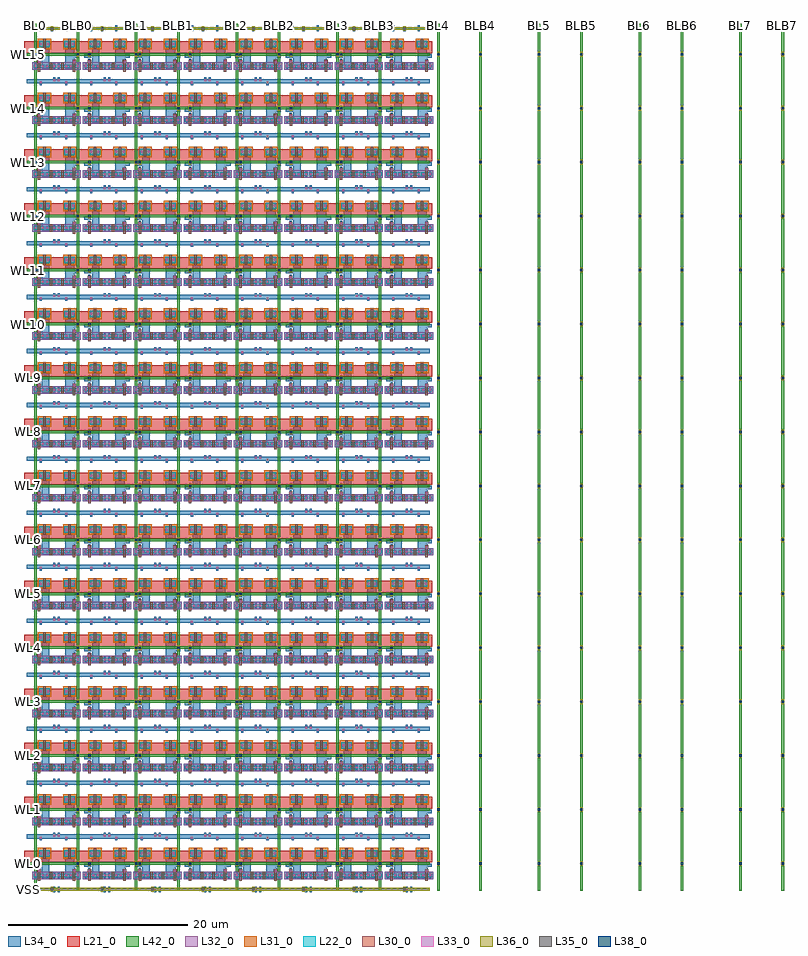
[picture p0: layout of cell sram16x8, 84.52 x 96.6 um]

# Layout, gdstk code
import gdstk
lib = gdstk.Library(unit=1e-6, precision=1e-09)
def R(c, l, rs):  # rectangles x0, y0, x1, y1
    for r in rs: c.add(gdstk.rectangle(r[:2], r[2:], *l))
def A(c, l, x, y, w, h, nx, ny, dx, dy):  # array of equal rectangles
    R(c, l, [(x+i*dx, y+j*dy, x+i*dx+w, y+j*dy+h) for i in range(nx) for j in range(ny)])
L21_0 = (21, 0)
L22_0 = (22, 0)
L30_0 = (30, 0)
L31_0 = (31, 0)
L32_0 = (32, 0)
L33_0 = (33, 0)
L34_0 = (34, 0)
L35_0 = (35, 0)
L36_0 = (36, 0)
L38_0 = (38, 0)
L42_0 = (42, 0)

sram6t = lib.new_cell('sram6t')
R(sram6t, L21_0, [(-0.3,3.12,5.9,4.44)])
A(sram6t, L22_0, 0.8, 1.5, 1.16, 0.36, 4, 1, 1.3, 0)
R(sram6t, L22_0, [(1.4,3.78,2.56,4.5), (4.2,3.78,5.36,4.5)])
A(sram6t, L30_0, 1.24, 1.28, 0.28, 0.8, 4, 1, 1.3, 0)
R(sram6t, L30_0, [(1.24,1.06,1.52,1.28), (5.14,1.06,5.42,1.28), (1.2,2.01,1.56,2.37), (5.1,2.01,5.46,2.37), (1.24,2.08,1.52,2.3), (5.14,2.08,5.42,2.3), (1.84,3.56,2.12,4.72), (4.64,3.56,4.92,4.72)])
R(sram6t, L31_0, [(1.24,3.55,2.72,4.73), (4.04,3.55,5.52,4.73)])
A(sram6t, L32_0, 0.64, 1.27, 1.48, 0.82, 4, 1, 1.3, 0)
R(sram6t, L33_0, [(2.97,0.005,3.19,0.225), (3.47,0.005,3.69,0.225), (0.87,1.57,1.09,1.79), (1.67,1.57,1.89,1.79), (2.17,1.57,2.39,1.79), (2.97,1.57,3.19,1.79), (3.47,1.57,3.69,1.79), (4.27,1.57,4.49,1.79), (4.77,1.57,4.99,1.79), (5.57,1.57,5.79,1.79), (0.87,1.625,1.09,1.845), (5.57,1.625,5.79,1.845), (1.27,2.08,1.49,2.3), (5.17,2.08,5.39,2.3), (1.47,4.03,1.69,4.25), (2.27,4.03,2.49,4.25), (4.27,4.03,4.49,4.25), (5.07,4.03,5.29,4.25), (1.47,5.775,1.69,5.995), (4.27,5.775,4.49,5.995)])
R(sram6t, L34_0, [(2.965,-0.2,3.195,0.43), (3.465,-0.2,3.695,0.43), (0,0,5.6,0.23), (2.965,0,3.195,0.23), (3.465,0,3.695,0.23), (0.865,1.365,1.095,1.995), (1.665,1.365,1.895,1.995), (1.665,1.365,1.895,1.995), (1.665,1.365,2.495,4.455), (2.165,1.365,2.395,1.995), (2.165,1.365,2.395,1.995), (2.965,1.365,3.195,1.995), (3.465,1.365,3.695,1.995), (4.265,1.365,4.495,1.995), (4.265,1.365,4.495,1.995), (4.265,1.365,5.295,4.455), (4.765,1.365,4.995,1.995), (4.765,1.365,4.995,1.995), (5.565,1.365,5.795,1.995), (0.865,1.42,1.095,2.05), (5.565,1.42,5.795,2.05), (1.265,1.875,1.495,2.505), (5.165,1.875,5.395,2.505), (0.79,2.62,1.17,3), (1.19,2.62,1.57,3), (5.09,2.62,5.47,3), (5.49,2.62,5.87,3), (1.465,3.825,1.695,4.455), (2.265,3.825,2.495,4.455), (2.265,3.825,2.495,4.455), (4.265,3.825,4.495,4.455), (5.065,3.825,5.295,4.455), (5.065,3.825,5.295,4.455), (1.465,5.57,1.695,6.2), (4.265,5.57,4.495,6.2), (0,5.77,5.6,6), (1.465,5.77,1.695,6), (4.265,5.77,4.495,6)])
sram6t.add(gdstk.Label('WL', (1.38,1.68), layer=30, texttype=10))
sram6t.add(gdstk.Label('BL', (0.98,1.68), layer=34, texttype=10))
sram6t.add(gdstk.Label('BLB', (5.68,1.68), layer=34, texttype=10))
sram6t.add(gdstk.Label('VDD', (2.8,5.885), layer=34, texttype=10))
sram6t.add(gdstk.Label('VSS', (2.8,0.115), layer=34, texttype=10))

sram16x8 = lib.new_cell('sram16x8')
A(sram16x8, L34_0, 0.85, 2.72, 0.26, 0.56, 1, 16, 0, 6)
A(sram16x8, L34_0, 1.25, 2.72, 0.26, 0.56, 1, 16, 0, 6)
A(sram16x8, L34_0, 5.55, 2.72, 0.26, 0.56, 1, 16, 0, 6)
A(sram16x8, L34_0, 6.85, 2.72, 0.26, 0.56, 1, 16, 0, 6)
A(sram16x8, L34_0, 12.05, 2.72, 0.26, 0.56, 1, 16, 0, 6)
A(sram16x8, L34_0, 12.45, 2.72, 0.26, 0.56, 1, 16, 0, 6)
A(sram16x8, L34_0, 16.75, 2.72, 0.26, 0.56, 1, 16, 0, 6)
A(sram16x8, L34_0, 18.05, 2.72, 0.26, 0.56, 1, 16, 0, 6)
A(sram16x8, L34_0, 23.25, 2.72, 0.26, 0.56, 1, 16, 0, 6)
A(sram16x8, L34_0, 23.65, 2.72, 0.26, 0.56, 1, 16, 0, 6)
A(sram16x8, L34_0, 27.95, 2.72, 0.26, 0.56, 1, 16, 0, 6)
A(sram16x8, L34_0, 29.25, 2.72, 0.26, 0.56, 1, 16, 0, 6)
A(sram16x8, L34_0, 34.45, 2.72, 0.26, 0.56, 1, 16, 0, 6)
A(sram16x8, L34_0, 34.85, 2.72, 0.26, 0.56, 1, 16, 0, 6)
A(sram16x8, L34_0, 39.15, 2.72, 0.26, 0.56, 1, 16, 0, 6)
A(sram16x8, L34_0, 40.45, 2.72, 0.26, 0.56, 1, 16, 0, 6)
A(sram16x8, L34_0, 45.65, 2.72, 0.26, 0.56, 1, 16, 0, 6)
A(sram16x8, L34_0, 50.35, 2.72, 0.26, 0.56, 1, 16, 0, 6)
A(sram16x8, L34_0, 56.85, 2.72, 0.26, 0.56, 1, 16, 0, 6)
A(sram16x8, L34_0, 61.55, 2.72, 0.26, 0.56, 1, 16, 0, 6)
A(sram16x8, L34_0, 68.05, 2.72, 0.26, 0.56, 1, 16, 0, 6)
A(sram16x8, L34_0, 72.75, 2.72, 0.26, 0.56, 1, 16, 0, 6)
A(sram16x8, L34_0, 79.25, 2.72, 0.26, 0.56, 1, 16, 0, 6)
A(sram16x8, L34_0, 83.95, 2.72, 0.26, 0.56, 1, 16, 0, 6)
R(sram16x8, L34_0, [(2.67,-0.13,2.93,0.43), (2.67,-0.13,2.93,0.43), (2.67,-0.13,2.93,0.43), (2.67,-0.13,2.93,0.43), (2.67,-0.13,2.93,0.43), (2.67,-0.13,2.93,0.43), (2.67,-0.13,2.93,0.43), (2.67,-0.13,2.93,0.43), (2.67,-0.13,2.93,0.43), (2.67,-0.13,2.93,0.43), (2.67,-0.13,2.93,0.43), (2.67,-0.13,2.93,0.43), (2.67,-0.13,2.93,0.43), (2.67,-0.13,2.93,0.43), (2.67,-0.13,2.93,0.43), (2.67,-0.13,2.93,0.43), (8.27,-0.13,8.53,0.43), (8.27,-0.13,8.53,0.43), (8.27,-0.13,8.53,0.43), (8.27,-0.13,8.53,0.43), (8.27,-0.13,8.53,0.43), (8.27,-0.13,8.53,0.43), (8.27,-0.13,8.53,0.43), (8.27,-0.13,8.53,0.43), (8.27,-0.13,8.53,0.43), (8.27,-0.13,8.53,0.43), (8.27,-0.13,8.53,0.43), (8.27,-0.13,8.53,0.43), (8.27,-0.13,8.53,0.43), (8.27,-0.13,8.53,0.43), (8.27,-0.13,8.53,0.43), (8.27,-0.13,8.53,0.43), (13.87,-0.13,14.13,0.43), (13.87,-0.13,14.13,0.43), (13.87,-0.13,14.13,0.43), (13.87,-0.13,14.13,0.43), (13.87,-0.13,14.13,0.43), (13.87,-0.13,14.13,0.43), (13.87,-0.13,14.13,0.43), (13.87,-0.13,14.13,0.43), (13.87,-0.13,14.13,0.43), (13.87,-0.13,14.13,0.43), (13.87,-0.13,14.13,0.43), (13.87,-0.13,14.13,0.43), (13.87,-0.13,14.13,0.43), (13.87,-0.13,14.13,0.43), (13.87,-0.13,14.13,0.43), (13.87,-0.13,14.13,0.43), (19.47,-0.13,19.73,0.43), (19.47,-0.13,19.73,0.43), (19.47,-0.13,19.73,0.43), (19.47,-0.13,19.73,0.43), (19.47,-0.13,19.73,0.43), (19.47,-0.13,19.73,0.43), (19.47,-0.13,19.73,0.43), (19.47,-0.13,19.73,0.43), (19.47,-0.13,19.73,0.43), (19.47,-0.13,19.73,0.43), (19.47,-0.13,19.73,0.43), (19.47,-0.13,19.73,0.43), (19.47,-0.13,19.73,0.43), (19.47,-0.13,19.73,0.43), (19.47,-0.13,19.73,0.43), (19.47,-0.13,19.73,0.43), (25.07,-0.13,25.33,0.43), (25.07,-0.13,25.33,0.43), (25.07,-0.13,25.33,0.43), (25.07,-0.13,25.33,0.43), (25.07,-0.13,25.33,0.43), (25.07,-0.13,25.33,0.43), (25.07,-0.13,25.33,0.43), (25.07,-0.13,25.33,0.43), (25.07,-0.13,25.33,0.43), (25.07,-0.13,25.33,0.43), (25.07,-0.13,25.33,0.43), (25.07,-0.13,25.33,0.43), (25.07,-0.13,25.33,0.43), (25.07,-0.13,25.33,0.43), (25.07,-0.13,25.33,0.43), (25.07,-0.13,25.33,0.43), (30.67,-0.13,30.93,0.43), (30.67,-0.13,30.93,0.43), (30.67,-0.13,30.93,0.43), (30.67,-0.13,30.93,0.43), (30.67,-0.13,30.93,0.43), (30.67,-0.13,30.93,0.43), (30.67,-0.13,30.93,0.43), (30.67,-0.13,30.93,0.43), (30.67,-0.13,30.93,0.43), (30.67,-0.13,30.93,0.43), (30.67,-0.13,30.93,0.43), (30.67,-0.13,30.93,0.43), (30.67,-0.13,30.93,0.43), (30.67,-0.13,30.93,0.43), (30.67,-0.13,30.93,0.43), (30.67,-0.13,30.93,0.43), (36.27,-0.13,36.53,0.43), (36.27,-0.13,36.53,0.43), (36.27,-0.13,36.53,0.43), (36.27,-0.13,36.53,0.43), (36.27,-0.13,36.53,0.43), (36.27,-0.13,36.53,0.43), (36.27,-0.13,36.53,0.43), (36.27,-0.13,36.53,0.43), (36.27,-0.13,36.53,0.43), (36.27,-0.13,36.53,0.43), (36.27,-0.13,36.53,0.43), (36.27,-0.13,36.53,0.43), (36.27,-0.13,36.53,0.43), (36.27,-0.13,36.53,0.43), (36.27,-0.13,36.53,0.43), (36.27,-0.13,36.53,0.43), (41.87,-0.13,42.13,0.43), (41.87,-0.13,42.13,0.43), (41.87,-0.13,42.13,0.43), (41.87,-0.13,42.13,0.43), (41.87,-0.13,42.13,0.43), (41.87,-0.13,42.13,0.43), (41.87,-0.13,42.13,0.43), (41.87,-0.13,42.13,0.43), (41.87,-0.13,42.13,0.43), (41.87,-0.13,42.13,0.43), (41.87,-0.13,42.13,0.43), (41.87,-0.13,42.13,0.43), (41.87,-0.13,42.13,0.43), (41.87,-0.13,42.13,0.43), (41.87,-0.13,42.13,0.43), (41.87,-0.13,42.13,0.43), (2.67,95.57,2.93,96.13), (2.67,95.57,2.93,96.13), (2.67,95.57,2.93,96.13), (2.67,95.57,2.93,96.13), (2.67,95.57,2.93,96.13), (2.67,95.57,2.93,96.13), (2.67,95.57,2.93,96.13), (2.67,95.57,2.93,96.13), (2.67,95.57,2.93,96.13), (2.67,95.57,2.93,96.13), (2.67,95.57,2.93,96.13), (2.67,95.57,2.93,96.13), (2.67,95.57,2.93,96.13), (2.67,95.57,2.93,96.13), (2.67,95.57,2.93,96.13), (2.67,95.57,2.93,96.13), (8.27,95.57,8.53,96.13), (8.27,95.57,8.53,96.13), (8.27,95.57,8.53,96.13), (8.27,95.57,8.53,96.13), (8.27,95.57,8.53,96.13), (8.27,95.57,8.53,96.13), (8.27,95.57,8.53,96.13), (8.27,95.57,8.53,96.13), (8.27,95.57,8.53,96.13), (8.27,95.57,8.53,96.13), (8.27,95.57,8.53,96.13), (8.27,95.57,8.53,96.13), (8.27,95.57,8.53,96.13), (8.27,95.57,8.53,96.13), (8.27,95.57,8.53,96.13), (8.27,95.57,8.53,96.13), (13.87,95.57,14.13,96.13), (13.87,95.57,14.13,96.13), (13.87,95.57,14.13,96.13), (13.87,95.57,14.13,96.13), (13.87,95.57,14.13,96.13), (13.87,95.57,14.13,96.13), (13.87,95.57,14.13,96.13), (13.87,95.57,14.13,96.13), (13.87,95.57,14.13,96.13), (13.87,95.57,14.13,96.13), (13.87,95.57,14.13,96.13), (13.87,95.57,14.13,96.13), (13.87,95.57,14.13,96.13), (13.87,95.57,14.13,96.13), (13.87,95.57,14.13,96.13), (13.87,95.57,14.13,96.13), (19.47,95.57,19.73,96.13), (19.47,95.57,19.73,96.13), (19.47,95.57,19.73,96.13), (19.47,95.57,19.73,96.13), (19.47,95.57,19.73,96.13), (19.47,95.57,19.73,96.13), (19.47,95.57,19.73,96.13), (19.47,95.57,19.73,96.13), (19.47,95.57,19.73,96.13), (19.47,95.57,19.73,96.13), (19.47,95.57,19.73,96.13), (19.47,95.57,19.73,96.13), (19.47,95.57,19.73,96.13), (19.47,95.57,19.73,96.13), (19.47,95.57,19.73,96.13), (19.47,95.57,19.73,96.13), (25.07,95.57,25.33,96.13), (25.07,95.57,25.33,96.13), (25.07,95.57,25.33,96.13), (25.07,95.57,25.33,96.13), (25.07,95.57,25.33,96.13), (25.07,95.57,25.33,96.13), (25.07,95.57,25.33,96.13), (25.07,95.57,25.33,96.13), (25.07,95.57,25.33,96.13), (25.07,95.57,25.33,96.13), (25.07,95.57,25.33,96.13), (25.07,95.57,25.33,96.13), (25.07,95.57,25.33,96.13), (25.07,95.57,25.33,96.13), (25.07,95.57,25.33,96.13), (25.07,95.57,25.33,96.13), (30.67,95.57,30.93,96.13), (30.67,95.57,30.93,96.13), (30.67,95.57,30.93,96.13), (30.67,95.57,30.93,96.13), (30.67,95.57,30.93,96.13), (30.67,95.57,30.93,96.13), (30.67,95.57,30.93,96.13), (30.67,95.57,30.93,96.13), (30.67,95.57,30.93,96.13), (30.67,95.57,30.93,96.13), (30.67,95.57,30.93,96.13), (30.67,95.57,30.93,96.13), (30.67,95.57,30.93,96.13), (30.67,95.57,30.93,96.13), (30.67,95.57,30.93,96.13), (30.67,95.57,30.93,96.13), (36.27,95.57,36.53,96.13), (36.27,95.57,36.53,96.13), (36.27,95.57,36.53,96.13), (36.27,95.57,36.53,96.13), (36.27,95.57,36.53,96.13), (36.27,95.57,36.53,96.13), (36.27,95.57,36.53,96.13), (36.27,95.57,36.53,96.13), (36.27,95.57,36.53,96.13), (36.27,95.57,36.53,96.13), (36.27,95.57,36.53,96.13), (36.27,95.57,36.53,96.13), (36.27,95.57,36.53,96.13), (36.27,95.57,36.53,96.13), (36.27,95.57,36.53,96.13), (36.27,95.57,36.53,96.13), (41.87,95.57,42.13,96.13), (41.87,95.57,42.13,96.13), (41.87,95.57,42.13,96.13), (41.87,95.57,42.13,96.13), (41.87,95.57,42.13,96.13), (41.87,95.57,42.13,96.13), (41.87,95.57,42.13,96.13), (41.87,95.57,42.13,96.13), (41.87,95.57,42.13,96.13), (41.87,95.57,42.13,96.13), (41.87,95.57,42.13,96.13), (41.87,95.57,42.13,96.13), (41.87,95.57,42.13,96.13), (41.87,95.57,42.13,96.13), (41.87,95.57,42.13,96.13), (41.87,95.57,42.13,96.13)])
A(sram16x8, L35_0, 0.85, 2.87, 0.26, 0.26, 1, 16, 0, 6)
A(sram16x8, L35_0, 1.25, 2.87, 0.26, 0.26, 1, 16, 0, 6)
A(sram16x8, L35_0, 5.55, 2.87, 0.26, 0.26, 1, 16, 0, 6)
A(sram16x8, L35_0, 6.85, 2.87, 0.26, 0.26, 1, 16, 0, 6)
A(sram16x8, L35_0, 12.05, 2.87, 0.26, 0.26, 1, 16, 0, 6)
A(sram16x8, L35_0, 12.45, 2.87, 0.26, 0.26, 1, 16, 0, 6)
A(sram16x8, L35_0, 16.75, 2.87, 0.26, 0.26, 1, 16, 0, 6)
A(sram16x8, L35_0, 18.05, 2.87, 0.26, 0.26, 1, 16, 0, 6)
A(sram16x8, L35_0, 23.25, 2.87, 0.26, 0.26, 1, 16, 0, 6)
A(sram16x8, L35_0, 23.65, 2.87, 0.26, 0.26, 1, 16, 0, 6)
A(sram16x8, L35_0, 27.95, 2.87, 0.26, 0.26, 1, 16, 0, 6)
A(sram16x8, L35_0, 29.25, 2.87, 0.26, 0.26, 1, 16, 0, 6)
A(sram16x8, L35_0, 34.45, 2.87, 0.26, 0.26, 1, 16, 0, 6)
A(sram16x8, L35_0, 34.85, 2.87, 0.26, 0.26, 1, 16, 0, 6)
A(sram16x8, L35_0, 39.15, 2.87, 0.26, 0.26, 1, 16, 0, 6)
A(sram16x8, L35_0, 40.45, 2.87, 0.26, 0.26, 1, 16, 0, 6)
A(sram16x8, L35_0, 45.65, 2.87, 0.26, 0.26, 1, 16, 0, 6)
A(sram16x8, L35_0, 50.35, 2.87, 0.26, 0.26, 1, 16, 0, 6)
A(sram16x8, L35_0, 56.85, 2.87, 0.26, 0.26, 1, 16, 0, 6)
A(sram16x8, L35_0, 61.55, 2.87, 0.26, 0.26, 1, 16, 0, 6)
A(sram16x8, L35_0, 68.05, 2.87, 0.26, 0.26, 1, 16, 0, 6)
A(sram16x8, L35_0, 72.75, 2.87, 0.26, 0.26, 1, 16, 0, 6)
A(sram16x8, L35_0, 79.25, 2.87, 0.26, 0.26, 1, 16, 0, 6)
A(sram16x8, L35_0, 83.95, 2.87, 0.26, 0.26, 1, 16, 0, 6)
R(sram16x8, L35_0, [(2.67,0.02,2.93,0.28), (2.67,0.02,2.93,0.28), (2.67,0.02,2.93,0.28), (2.67,0.02,2.93,0.28), (2.67,0.02,2.93,0.28), (2.67,0.02,2.93,0.28), (2.67,0.02,2.93,0.28), (2.67,0.02,2.93,0.28), (2.67,0.02,2.93,0.28), (2.67,0.02,2.93,0.28), (2.67,0.02,2.93,0.28), (2.67,0.02,2.93,0.28), (2.67,0.02,2.93,0.28), (2.67,0.02,2.93,0.28), (2.67,0.02,2.93,0.28), (2.67,0.02,2.93,0.28), (8.27,0.02,8.53,0.28), (8.27,0.02,8.53,0.28), (8.27,0.02,8.53,0.28), (8.27,0.02,8.53,0.28), (8.27,0.02,8.53,0.28), (8.27,0.02,8.53,0.28), (8.27,0.02,8.53,0.28), (8.27,0.02,8.53,0.28), (8.27,0.02,8.53,0.28), (8.27,0.02,8.53,0.28), (8.27,0.02,8.53,0.28), (8.27,0.02,8.53,0.28), (8.27,0.02,8.53,0.28), (8.27,0.02,8.53,0.28), (8.27,0.02,8.53,0.28), (8.27,0.02,8.53,0.28), (13.87,0.02,14.13,0.28), (13.87,0.02,14.13,0.28), (13.87,0.02,14.13,0.28), (13.87,0.02,14.13,0.28), (13.87,0.02,14.13,0.28), (13.87,0.02,14.13,0.28), (13.87,0.02,14.13,0.28), (13.87,0.02,14.13,0.28), (13.87,0.02,14.13,0.28), (13.87,0.02,14.13,0.28), (13.87,0.02,14.13,0.28), (13.87,0.02,14.13,0.28), (13.87,0.02,14.13,0.28), (13.87,0.02,14.13,0.28), (13.87,0.02,14.13,0.28), (13.87,0.02,14.13,0.28), (19.47,0.02,19.73,0.28), (19.47,0.02,19.73,0.28), (19.47,0.02,19.73,0.28), (19.47,0.02,19.73,0.28), (19.47,0.02,19.73,0.28), (19.47,0.02,19.73,0.28), (19.47,0.02,19.73,0.28), (19.47,0.02,19.73,0.28), (19.47,0.02,19.73,0.28), (19.47,0.02,19.73,0.28), (19.47,0.02,19.73,0.28), (19.47,0.02,19.73,0.28), (19.47,0.02,19.73,0.28), (19.47,0.02,19.73,0.28), (19.47,0.02,19.73,0.28), (19.47,0.02,19.73,0.28), (25.07,0.02,25.33,0.28), (25.07,0.02,25.33,0.28), (25.07,0.02,25.33,0.28), (25.07,0.02,25.33,0.28), (25.07,0.02,25.33,0.28), (25.07,0.02,25.33,0.28), (25.07,0.02,25.33,0.28), (25.07,0.02,25.33,0.28), (25.07,0.02,25.33,0.28), (25.07,0.02,25.33,0.28), (25.07,0.02,25.33,0.28), (25.07,0.02,25.33,0.28), (25.07,0.02,25.33,0.28), (25.07,0.02,25.33,0.28), (25.07,0.02,25.33,0.28), (25.07,0.02,25.33,0.28), (30.67,0.02,30.93,0.28), (30.67,0.02,30.93,0.28), (30.67,0.02,30.93,0.28), (30.67,0.02,30.93,0.28), (30.67,0.02,30.93,0.28), (30.67,0.02,30.93,0.28), (30.67,0.02,30.93,0.28), (30.67,0.02,30.93,0.28), (30.67,0.02,30.93,0.28), (30.67,0.02,30.93,0.28), (30.67,0.02,30.93,0.28), (30.67,0.02,30.93,0.28), (30.67,0.02,30.93,0.28), (30.67,0.02,30.93,0.28), (30.67,0.02,30.93,0.28), (30.67,0.02,30.93,0.28), (36.27,0.02,36.53,0.28), (36.27,0.02,36.53,0.28), (36.27,0.02,36.53,0.28), (36.27,0.02,36.53,0.28), (36.27,0.02,36.53,0.28), (36.27,0.02,36.53,0.28), (36.27,0.02,36.53,0.28), (36.27,0.02,36.53,0.28), (36.27,0.02,36.53,0.28), (36.27,0.02,36.53,0.28), (36.27,0.02,36.53,0.28), (36.27,0.02,36.53,0.28), (36.27,0.02,36.53,0.28), (36.27,0.02,36.53,0.28), (36.27,0.02,36.53,0.28), (36.27,0.02,36.53,0.28), (41.87,0.02,42.13,0.28), (41.87,0.02,42.13,0.28), (41.87,0.02,42.13,0.28), (41.87,0.02,42.13,0.28), (41.87,0.02,42.13,0.28), (41.87,0.02,42.13,0.28), (41.87,0.02,42.13,0.28), (41.87,0.02,42.13,0.28), (41.87,0.02,42.13,0.28), (41.87,0.02,42.13,0.28), (41.87,0.02,42.13,0.28), (41.87,0.02,42.13,0.28), (41.87,0.02,42.13,0.28), (41.87,0.02,42.13,0.28), (41.87,0.02,42.13,0.28), (41.87,0.02,42.13,0.28), (2.67,95.72,2.93,95.98), (2.67,95.72,2.93,95.98), (2.67,95.72,2.93,95.98), (2.67,95.72,2.93,95.98), (2.67,95.72,2.93,95.98), (2.67,95.72,2.93,95.98), (2.67,95.72,2.93,95.98), (2.67,95.72,2.93,95.98), (2.67,95.72,2.93,95.98), (2.67,95.72,2.93,95.98), (2.67,95.72,2.93,95.98), (2.67,95.72,2.93,95.98), (2.67,95.72,2.93,95.98), (2.67,95.72,2.93,95.98), (2.67,95.72,2.93,95.98), (2.67,95.72,2.93,95.98), (8.27,95.72,8.53,95.98), (8.27,95.72,8.53,95.98), (8.27,95.72,8.53,95.98), (8.27,95.72,8.53,95.98), (8.27,95.72,8.53,95.98), (8.27,95.72,8.53,95.98), (8.27,95.72,8.53,95.98), (8.27,95.72,8.53,95.98), (8.27,95.72,8.53,95.98), (8.27,95.72,8.53,95.98), (8.27,95.72,8.53,95.98), (8.27,95.72,8.53,95.98), (8.27,95.72,8.53,95.98), (8.27,95.72,8.53,95.98), (8.27,95.72,8.53,95.98), (8.27,95.72,8.53,95.98), (13.87,95.72,14.13,95.98), (13.87,95.72,14.13,95.98), (13.87,95.72,14.13,95.98), (13.87,95.72,14.13,95.98), (13.87,95.72,14.13,95.98), (13.87,95.72,14.13,95.98), (13.87,95.72,14.13,95.98), (13.87,95.72,14.13,95.98), (13.87,95.72,14.13,95.98), (13.87,95.72,14.13,95.98), (13.87,95.72,14.13,95.98), (13.87,95.72,14.13,95.98), (13.87,95.72,14.13,95.98), (13.87,95.72,14.13,95.98), (13.87,95.72,14.13,95.98), (13.87,95.72,14.13,95.98), (19.47,95.72,19.73,95.98), (19.47,95.72,19.73,95.98), (19.47,95.72,19.73,95.98), (19.47,95.72,19.73,95.98), (19.47,95.72,19.73,95.98), (19.47,95.72,19.73,95.98), (19.47,95.72,19.73,95.98), (19.47,95.72,19.73,95.98), (19.47,95.72,19.73,95.98), (19.47,95.72,19.73,95.98), (19.47,95.72,19.73,95.98), (19.47,95.72,19.73,95.98), (19.47,95.72,19.73,95.98), (19.47,95.72,19.73,95.98), (19.47,95.72,19.73,95.98), (19.47,95.72,19.73,95.98), (25.07,95.72,25.33,95.98), (25.07,95.72,25.33,95.98), (25.07,95.72,25.33,95.98), (25.07,95.72,25.33,95.98), (25.07,95.72,25.33,95.98), (25.07,95.72,25.33,95.98), (25.07,95.72,25.33,95.98), (25.07,95.72,25.33,95.98), (25.07,95.72,25.33,95.98), (25.07,95.72,25.33,95.98), (25.07,95.72,25.33,95.98), (25.07,95.72,25.33,95.98), (25.07,95.72,25.33,95.98), (25.07,95.72,25.33,95.98), (25.07,95.72,25.33,95.98), (25.07,95.72,25.33,95.98), (30.67,95.72,30.93,95.98), (30.67,95.72,30.93,95.98), (30.67,95.72,30.93,95.98), (30.67,95.72,30.93,95.98), (30.67,95.72,30.93,95.98), (30.67,95.72,30.93,95.98), (30.67,95.72,30.93,95.98), (30.67,95.72,30.93,95.98), (30.67,95.72,30.93,95.98), (30.67,95.72,30.93,95.98), (30.67,95.72,30.93,95.98), (30.67,95.72,30.93,95.98), (30.67,95.72,30.93,95.98), (30.67,95.72,30.93,95.98), (30.67,95.72,30.93,95.98), (30.67,95.72,30.93,95.98), (36.27,95.72,36.53,95.98), (36.27,95.72,36.53,95.98), (36.27,95.72,36.53,95.98), (36.27,95.72,36.53,95.98), (36.27,95.72,36.53,95.98), (36.27,95.72,36.53,95.98), (36.27,95.72,36.53,95.98), (36.27,95.72,36.53,95.98), (36.27,95.72,36.53,95.98), (36.27,95.72,36.53,95.98), (36.27,95.72,36.53,95.98), (36.27,95.72,36.53,95.98), (36.27,95.72,36.53,95.98), (36.27,95.72,36.53,95.98), (36.27,95.72,36.53,95.98), (36.27,95.72,36.53,95.98), (41.87,95.72,42.13,95.98), (41.87,95.72,42.13,95.98), (41.87,95.72,42.13,95.98), (41.87,95.72,42.13,95.98), (41.87,95.72,42.13,95.98), (41.87,95.72,42.13,95.98), (41.87,95.72,42.13,95.98), (41.87,95.72,42.13,95.98), (41.87,95.72,42.13,95.98), (41.87,95.72,42.13,95.98), (41.87,95.72,42.13,95.98), (41.87,95.72,42.13,95.98), (41.87,95.72,42.13,95.98), (41.87,95.72,42.13,95.98), (41.87,95.72,42.13,95.98), (41.87,95.72,42.13,95.98)])
A(sram16x8, L36_0, 0.84, 2.74, 0.28, 0.52, 1, 16, 0, 6)
A(sram16x8, L36_0, 1.24, 2.74, 0.28, 0.52, 1, 16, 0, 6)
A(sram16x8, L36_0, 5.54, 2.74, 0.28, 0.52, 1, 16, 0, 6)
A(sram16x8, L36_0, 6.84, 2.74, 0.28, 0.52, 1, 16, 0, 6)
A(sram16x8, L36_0, 12.04, 2.74, 0.28, 0.52, 1, 16, 0, 6)
A(sram16x8, L36_0, 12.44, 2.74, 0.28, 0.52, 1, 16, 0, 6)
A(sram16x8, L36_0, 16.74, 2.74, 0.28, 0.52, 1, 16, 0, 6)
A(sram16x8, L36_0, 18.04, 2.74, 0.28, 0.52, 1, 16, 0, 6)
A(sram16x8, L36_0, 23.24, 2.74, 0.28, 0.52, 1, 16, 0, 6)
A(sram16x8, L36_0, 23.64, 2.74, 0.28, 0.52, 1, 16, 0, 6)
A(sram16x8, L36_0, 27.94, 2.74, 0.28, 0.52, 1, 16, 0, 6)
A(sram16x8, L36_0, 29.24, 2.74, 0.28, 0.52, 1, 16, 0, 6)
A(sram16x8, L36_0, 34.44, 2.74, 0.28, 0.52, 1, 16, 0, 6)
A(sram16x8, L36_0, 34.84, 2.74, 0.28, 0.52, 1, 16, 0, 6)
A(sram16x8, L36_0, 39.14, 2.74, 0.28, 0.52, 1, 16, 0, 6)
A(sram16x8, L36_0, 40.44, 2.74, 0.28, 0.52, 1, 16, 0, 6)
A(sram16x8, L36_0, 45.64, 2.74, 0.28, 0.52, 1, 16, 0, 6)
A(sram16x8, L36_0, 50.34, 2.74, 0.28, 0.52, 1, 16, 0, 6)
A(sram16x8, L36_0, 56.84, 2.74, 0.28, 0.52, 1, 16, 0, 6)
A(sram16x8, L36_0, 61.54, 2.74, 0.28, 0.52, 1, 16, 0, 6)
A(sram16x8, L36_0, 68.04, 2.74, 0.28, 0.52, 1, 16, 0, 6)
A(sram16x8, L36_0, 72.74, 2.74, 0.28, 0.52, 1, 16, 0, 6)
A(sram16x8, L36_0, 79.24, 2.74, 0.28, 0.52, 1, 16, 0, 6)
A(sram16x8, L36_0, 83.94, 2.74, 0.28, 0.52, 1, 16, 0, 6)
R(sram16x8, L36_0, [(2.66,-0.11,2.94,0.41), (2.66,-0.11,2.94,0.41), (2.66,-0.11,2.94,0.41), (2.66,-0.11,2.94,0.41), (2.66,-0.11,2.94,0.41), (2.66,-0.11,2.94,0.41), (2.66,-0.11,2.94,0.41), (2.66,-0.11,2.94,0.41), (2.66,-0.11,2.94,0.41), (2.66,-0.11,2.94,0.41), (2.66,-0.11,2.94,0.41), (2.66,-0.11,2.94,0.41), (2.66,-0.11,2.94,0.41), (2.66,-0.11,2.94,0.41), (2.66,-0.11,2.94,0.41), (2.66,-0.11,2.94,0.41), (8.26,-0.11,8.54,0.41), (8.26,-0.11,8.54,0.41), (8.26,-0.11,8.54,0.41), (8.26,-0.11,8.54,0.41), (8.26,-0.11,8.54,0.41), (8.26,-0.11,8.54,0.41), (8.26,-0.11,8.54,0.41), (8.26,-0.11,8.54,0.41), (8.26,-0.11,8.54,0.41), (8.26,-0.11,8.54,0.41), (8.26,-0.11,8.54,0.41), (8.26,-0.11,8.54,0.41), (8.26,-0.11,8.54,0.41), (8.26,-0.11,8.54,0.41), (8.26,-0.11,8.54,0.41), (8.26,-0.11,8.54,0.41), (13.86,-0.11,14.14,0.41), (13.86,-0.11,14.14,0.41), (13.86,-0.11,14.14,0.41), (13.86,-0.11,14.14,0.41), (13.86,-0.11,14.14,0.41), (13.86,-0.11,14.14,0.41), (13.86,-0.11,14.14,0.41), (13.86,-0.11,14.14,0.41), (13.86,-0.11,14.14,0.41), (13.86,-0.11,14.14,0.41), (13.86,-0.11,14.14,0.41), (13.86,-0.11,14.14,0.41), (13.86,-0.11,14.14,0.41), (13.86,-0.11,14.14,0.41), (13.86,-0.11,14.14,0.41), (13.86,-0.11,14.14,0.41), (19.46,-0.11,19.74,0.41), (19.46,-0.11,19.74,0.41), (19.46,-0.11,19.74,0.41), (19.46,-0.11,19.74,0.41), (19.46,-0.11,19.74,0.41), (19.46,-0.11,19.74,0.41), (19.46,-0.11,19.74,0.41), (19.46,-0.11,19.74,0.41), (19.46,-0.11,19.74,0.41), (19.46,-0.11,19.74,0.41), (19.46,-0.11,19.74,0.41), (19.46,-0.11,19.74,0.41), (19.46,-0.11,19.74,0.41), (19.46,-0.11,19.74,0.41), (19.46,-0.11,19.74,0.41), (19.46,-0.11,19.74,0.41), (25.06,-0.11,25.34,0.41), (25.06,-0.11,25.34,0.41), (25.06,-0.11,25.34,0.41), (25.06,-0.11,25.34,0.41), (25.06,-0.11,25.34,0.41), (25.06,-0.11,25.34,0.41), (25.06,-0.11,25.34,0.41), (25.06,-0.11,25.34,0.41), (25.06,-0.11,25.34,0.41), (25.06,-0.11,25.34,0.41), (25.06,-0.11,25.34,0.41), (25.06,-0.11,25.34,0.41), (25.06,-0.11,25.34,0.41), (25.06,-0.11,25.34,0.41), (25.06,-0.11,25.34,0.41), (25.06,-0.11,25.34,0.41), (30.66,-0.11,30.94,0.41), (30.66,-0.11,30.94,0.41), (30.66,-0.11,30.94,0.41), (30.66,-0.11,30.94,0.41), (30.66,-0.11,30.94,0.41), (30.66,-0.11,30.94,0.41), (30.66,-0.11,30.94,0.41), (30.66,-0.11,30.94,0.41), (30.66,-0.11,30.94,0.41), (30.66,-0.11,30.94,0.41), (30.66,-0.11,30.94,0.41), (30.66,-0.11,30.94,0.41), (30.66,-0.11,30.94,0.41), (30.66,-0.11,30.94,0.41), (30.66,-0.11,30.94,0.41), (30.66,-0.11,30.94,0.41), (36.26,-0.11,36.54,0.41), (36.26,-0.11,36.54,0.41), (36.26,-0.11,36.54,0.41), (36.26,-0.11,36.54,0.41), (36.26,-0.11,36.54,0.41), (36.26,-0.11,36.54,0.41), (36.26,-0.11,36.54,0.41), (36.26,-0.11,36.54,0.41), (36.26,-0.11,36.54,0.41), (36.26,-0.11,36.54,0.41), (36.26,-0.11,36.54,0.41), (36.26,-0.11,36.54,0.41), (36.26,-0.11,36.54,0.41), (36.26,-0.11,36.54,0.41), (36.26,-0.11,36.54,0.41), (36.26,-0.11,36.54,0.41), (41.86,-0.11,42.14,0.41), (41.86,-0.11,42.14,0.41), (41.86,-0.11,42.14,0.41), (41.86,-0.11,42.14,0.41), (41.86,-0.11,42.14,0.41), (41.86,-0.11,42.14,0.41), (41.86,-0.11,42.14,0.41), (41.86,-0.11,42.14,0.41), (41.86,-0.11,42.14,0.41), (41.86,-0.11,42.14,0.41), (41.86,-0.11,42.14,0.41), (41.86,-0.11,42.14,0.41), (41.86,-0.11,42.14,0.41), (41.86,-0.11,42.14,0.41), (41.86,-0.11,42.14,0.41), (41.86,-0.11,42.14,0.41), (0,0,44.8,0.3), (0,0,0.4,0.23), (2.66,95.59,2.94,96.11), (2.66,95.59,2.94,96.11), (2.66,95.59,2.94,96.11), (2.66,95.59,2.94,96.11), (2.66,95.59,2.94,96.11), (2.66,95.59,2.94,96.11), (2.66,95.59,2.94,96.11), (2.66,95.59,2.94,96.11), (2.66,95.59,2.94,96.11), (2.66,95.59,2.94,96.11), (2.66,95.59,2.94,96.11), (2.66,95.59,2.94,96.11), (2.66,95.59,2.94,96.11), (2.66,95.59,2.94,96.11), (2.66,95.59,2.94,96.11), (2.66,95.59,2.94,96.11), (8.26,95.59,8.54,96.11), (8.26,95.59,8.54,96.11), (8.26,95.59,8.54,96.11), (8.26,95.59,8.54,96.11), (8.26,95.59,8.54,96.11), (8.26,95.59,8.54,96.11), (8.26,95.59,8.54,96.11), (8.26,95.59,8.54,96.11), (8.26,95.59,8.54,96.11), (8.26,95.59,8.54,96.11), (8.26,95.59,8.54,96.11), (8.26,95.59,8.54,96.11), (8.26,95.59,8.54,96.11), (8.26,95.59,8.54,96.11), (8.26,95.59,8.54,96.11), (8.26,95.59,8.54,96.11), (13.86,95.59,14.14,96.11), (13.86,95.59,14.14,96.11), (13.86,95.59,14.14,96.11), (13.86,95.59,14.14,96.11), (13.86,95.59,14.14,96.11), (13.86,95.59,14.14,96.11), (13.86,95.59,14.14,96.11), (13.86,95.59,14.14,96.11), (13.86,95.59,14.14,96.11), (13.86,95.59,14.14,96.11), (13.86,95.59,14.14,96.11), (13.86,95.59,14.14,96.11), (13.86,95.59,14.14,96.11), (13.86,95.59,14.14,96.11), (13.86,95.59,14.14,96.11), (13.86,95.59,14.14,96.11), (19.46,95.59,19.74,96.11), (19.46,95.59,19.74,96.11), (19.46,95.59,19.74,96.11), (19.46,95.59,19.74,96.11), (19.46,95.59,19.74,96.11), (19.46,95.59,19.74,96.11), (19.46,95.59,19.74,96.11), (19.46,95.59,19.74,96.11), (19.46,95.59,19.74,96.11), (19.46,95.59,19.74,96.11), (19.46,95.59,19.74,96.11), (19.46,95.59,19.74,96.11), (19.46,95.59,19.74,96.11), (19.46,95.59,19.74,96.11), (19.46,95.59,19.74,96.11), (19.46,95.59,19.74,96.11), (25.06,95.59,25.34,96.11), (25.06,95.59,25.34,96.11), (25.06,95.59,25.34,96.11), (25.06,95.59,25.34,96.11), (25.06,95.59,25.34,96.11), (25.06,95.59,25.34,96.11), (25.06,95.59,25.34,96.11), (25.06,95.59,25.34,96.11), (25.06,95.59,25.34,96.11), (25.06,95.59,25.34,96.11), (25.06,95.59,25.34,96.11), (25.06,95.59,25.34,96.11), (25.06,95.59,25.34,96.11), (25.06,95.59,25.34,96.11), (25.06,95.59,25.34,96.11), (25.06,95.59,25.34,96.11), (30.66,95.59,30.94,96.11), (30.66,95.59,30.94,96.11), (30.66,95.59,30.94,96.11), (30.66,95.59,30.94,96.11), (30.66,95.59,30.94,96.11), (30.66,95.59,30.94,96.11), (30.66,95.59,30.94,96.11), (30.66,95.59,30.94,96.11), (30.66,95.59,30.94,96.11), (30.66,95.59,30.94,96.11), (30.66,95.59,30.94,96.11), (30.66,95.59,30.94,96.11), (30.66,95.59,30.94,96.11), (30.66,95.59,30.94,96.11), (30.66,95.59,30.94,96.11), (30.66,95.59,30.94,96.11), (36.26,95.59,36.54,96.11), (36.26,95.59,36.54,96.11), (36.26,95.59,36.54,96.11), (36.26,95.59,36.54,96.11), (36.26,95.59,36.54,96.11), (36.26,95.59,36.54,96.11), (36.26,95.59,36.54,96.11), (36.26,95.59,36.54,96.11), (36.26,95.59,36.54,96.11), (36.26,95.59,36.54,96.11), (36.26,95.59,36.54,96.11), (36.26,95.59,36.54,96.11), (36.26,95.59,36.54,96.11), (36.26,95.59,36.54,96.11), (36.26,95.59,36.54,96.11), (36.26,95.59,36.54,96.11), (41.86,95.59,42.14,96.11), (41.86,95.59,42.14,96.11), (41.86,95.59,42.14,96.11), (41.86,95.59,42.14,96.11), (41.86,95.59,42.14,96.11), (41.86,95.59,42.14,96.11), (41.86,95.59,42.14,96.11), (41.86,95.59,42.14,96.11), (41.86,95.59,42.14,96.11), (41.86,95.59,42.14,96.11), (41.86,95.59,42.14,96.11), (41.86,95.59,42.14,96.11), (41.86,95.59,42.14,96.11), (41.86,95.59,42.14,96.11), (41.86,95.59,42.14,96.11), (41.86,95.59,42.14,96.11), (0,95.7,44.8,96), (0,95.77,0.4,96)])
A(sram16x8, L38_0, 0.85, 2.87, 0.26, 0.26, 1, 16, 0, 6)
A(sram16x8, L38_0, 1.25, 2.87, 0.26, 0.26, 1, 16, 0, 6)
A(sram16x8, L38_0, 5.55, 2.87, 0.26, 0.26, 1, 16, 0, 6)
A(sram16x8, L38_0, 6.85, 2.87, 0.26, 0.26, 1, 16, 0, 6)
A(sram16x8, L38_0, 12.05, 2.87, 0.26, 0.26, 1, 16, 0, 6)
A(sram16x8, L38_0, 12.45, 2.87, 0.26, 0.26, 1, 16, 0, 6)
A(sram16x8, L38_0, 16.75, 2.87, 0.26, 0.26, 1, 16, 0, 6)
A(sram16x8, L38_0, 18.05, 2.87, 0.26, 0.26, 1, 16, 0, 6)
A(sram16x8, L38_0, 23.25, 2.87, 0.26, 0.26, 1, 16, 0, 6)
A(sram16x8, L38_0, 23.65, 2.87, 0.26, 0.26, 1, 16, 0, 6)
A(sram16x8, L38_0, 27.95, 2.87, 0.26, 0.26, 1, 16, 0, 6)
A(sram16x8, L38_0, 29.25, 2.87, 0.26, 0.26, 1, 16, 0, 6)
A(sram16x8, L38_0, 34.45, 2.87, 0.26, 0.26, 1, 16, 0, 6)
A(sram16x8, L38_0, 34.85, 2.87, 0.26, 0.26, 1, 16, 0, 6)
A(sram16x8, L38_0, 39.15, 2.87, 0.26, 0.26, 1, 16, 0, 6)
A(sram16x8, L38_0, 40.45, 2.87, 0.26, 0.26, 1, 16, 0, 6)
A(sram16x8, L38_0, 45.65, 2.87, 0.26, 0.26, 1, 16, 0, 6)
A(sram16x8, L38_0, 50.35, 2.87, 0.26, 0.26, 1, 16, 0, 6)
A(sram16x8, L38_0, 56.85, 2.87, 0.26, 0.26, 1, 16, 0, 6)
A(sram16x8, L38_0, 61.55, 2.87, 0.26, 0.26, 1, 16, 0, 6)
A(sram16x8, L38_0, 68.05, 2.87, 0.26, 0.26, 1, 16, 0, 6)
A(sram16x8, L38_0, 72.75, 2.87, 0.26, 0.26, 1, 16, 0, 6)
A(sram16x8, L38_0, 79.25, 2.87, 0.26, 0.26, 1, 16, 0, 6)
A(sram16x8, L38_0, 83.95, 2.87, 0.26, 0.26, 1, 16, 0, 6)
A(sram16x8, L42_0, 0.84, 2.74, 0.28, 0.52, 1, 16, 0, 6)
A(sram16x8, L42_0, 1.24, 2.74, 0.28, 0.52, 1, 16, 0, 6)
A(sram16x8, L42_0, 5.54, 2.74, 0.28, 0.52, 1, 16, 0, 6)
A(sram16x8, L42_0, 6.84, 2.74, 0.28, 0.52, 1, 16, 0, 6)
A(sram16x8, L42_0, 12.04, 2.74, 0.28, 0.52, 1, 16, 0, 6)
A(sram16x8, L42_0, 12.44, 2.74, 0.28, 0.52, 1, 16, 0, 6)
A(sram16x8, L42_0, 16.74, 2.74, 0.28, 0.52, 1, 16, 0, 6)
A(sram16x8, L42_0, 18.04, 2.74, 0.28, 0.52, 1, 16, 0, 6)
A(sram16x8, L42_0, 23.24, 2.74, 0.28, 0.52, 1, 16, 0, 6)
A(sram16x8, L42_0, 23.64, 2.74, 0.28, 0.52, 1, 16, 0, 6)
A(sram16x8, L42_0, 27.94, 2.74, 0.28, 0.52, 1, 16, 0, 6)
A(sram16x8, L42_0, 29.24, 2.74, 0.28, 0.52, 1, 16, 0, 6)
A(sram16x8, L42_0, 34.44, 2.74, 0.28, 0.52, 1, 16, 0, 6)
A(sram16x8, L42_0, 34.84, 2.74, 0.28, 0.52, 1, 16, 0, 6)
A(sram16x8, L42_0, 39.14, 2.74, 0.28, 0.52, 1, 16, 0, 6)
A(sram16x8, L42_0, 40.44, 2.74, 0.28, 0.52, 1, 16, 0, 6)
A(sram16x8, L42_0, 45.64, 2.74, 0.28, 0.52, 1, 16, 0, 6)
A(sram16x8, L42_0, 50.34, 2.74, 0.28, 0.52, 1, 16, 0, 6)
A(sram16x8, L42_0, 56.84, 2.74, 0.28, 0.52, 1, 16, 0, 6)
A(sram16x8, L42_0, 61.54, 2.74, 0.28, 0.52, 1, 16, 0, 6)
A(sram16x8, L42_0, 68.04, 2.74, 0.28, 0.52, 1, 16, 0, 6)
A(sram16x8, L42_0, 72.74, 2.74, 0.28, 0.52, 1, 16, 0, 6)
A(sram16x8, L42_0, 79.24, 2.74, 0.28, 0.52, 1, 16, 0, 6)
A(sram16x8, L42_0, 83.94, 2.74, 0.28, 0.52, 1, 16, 0, 6)
A(sram16x8, L42_0, 0, 2.86, 44.8, 0.28, 1, 16, 0, 6)
A(sram16x8, L42_0, 0, 2.86, 0.4, 0.28, 1, 16, 0, 6)
R(sram16x8, L42_0, [(0.84,0,1.12,96), (5.54,0,5.82,96), (12.04,0,12.32,96), (16.74,0,17.02,96), (23.24,0,23.52,96), (27.94,0,28.22,96), (34.44,0,34.72,96), (39.14,0,39.42,96), (45.64,0,45.92,96), (50.34,0,50.62,96), (56.84,0,57.12,96), (61.54,0,61.82,96), (68.04,0,68.32,96), (72.74,0,73.02,96), (79.24,0,79.52,96), (83.94,0,84.22,96), (0.84,96,1.12,96.4), (5.54,96,5.82,96.4), (12.04,96,12.32,96.4), (16.74,96,17.02,96.4), (23.24,96,23.52,96.4), (27.94,96,28.22,96.4), (34.44,96,34.72,96.4), (39.14,96,39.42,96.4), (45.64,96,45.92,96.4), (50.34,96,50.62,96.4), (56.84,96,57.12,96.4), (61.54,96,61.82,96.4), (68.04,96,68.32,96.4), (72.74,96,73.02,96.4), (79.24,96,79.52,96.4), (83.94,96,84.22,96.4)])
sram16x8.add(gdstk.Reference(sram6t, (16.8,0)))
sram16x8.add(gdstk.Reference(sram6t, (22.4,0)))
sram16x8.add(gdstk.Reference(sram6t, (16.8,6)))
sram16x8.add(gdstk.Reference(sram6t, (22.4,6)))
sram16x8.add(gdstk.Reference(sram6t, (16.8,12)))
sram16x8.add(gdstk.Reference(sram6t, (22.4,12)))
sram16x8.add(gdstk.Reference(sram6t, (16.8,18)))
sram16x8.add(gdstk.Reference(sram6t, (22.4,18)))
sram16x8.add(gdstk.Reference(sram6t, (16.8,24)))
sram16x8.add(gdstk.Reference(sram6t, (22.4,24)))
sram16x8.add(gdstk.Reference(sram6t, (16.8,30)))
sram16x8.add(gdstk.Reference(sram6t, (22.4,30)))
sram16x8.add(gdstk.Reference(sram6t, (16.8,36)))
sram16x8.add(gdstk.Reference(sram6t, (22.4,36)))
sram16x8.add(gdstk.Reference(sram6t, (0,42)))
sram16x8.add(gdstk.Reference(sram6t, (5.6,42)))
sram16x8.add(gdstk.Reference(sram6t, (11.2,42)))
sram16x8.add(gdstk.Reference(sram6t, (16.8,42)))
sram16x8.add(gdstk.Reference(sram6t, (22.4,42)))
sram16x8.add(gdstk.Reference(sram6t, (28,42)))
sram16x8.add(gdstk.Reference(sram6t, (33.6,42)))
sram16x8.add(gdstk.Reference(sram6t, (39.2,42)))
sram16x8.add(gdstk.Reference(sram6t, (0,48)))
sram16x8.add(gdstk.Reference(sram6t, (5.6,48)))
sram16x8.add(gdstk.Reference(sram6t, (11.2,48)))
sram16x8.add(gdstk.Reference(sram6t, (16.8,48)))
sram16x8.add(gdstk.Reference(sram6t, (22.4,48)))
sram16x8.add(gdstk.Reference(sram6t, (28,48)))
sram16x8.add(gdstk.Reference(sram6t, (33.6,48)))
sram16x8.add(gdstk.Reference(sram6t, (39.2,48)))
sram16x8.add(gdstk.Reference(sram6t, (16.8,54)))
sram16x8.add(gdstk.Reference(sram6t, (22.4,54)))
sram16x8.add(gdstk.Reference(sram6t, (16.8,60)))
sram16x8.add(gdstk.Reference(sram6t, (22.4,60)))
sram16x8.add(gdstk.Reference(sram6t, (16.8,66)))
sram16x8.add(gdstk.Reference(sram6t, (22.4,66)))
sram16x8.add(gdstk.Reference(sram6t, (16.8,72)))
sram16x8.add(gdstk.Reference(sram6t, (22.4,72)))
sram16x8.add(gdstk.Reference(sram6t, (16.8,78)))
sram16x8.add(gdstk.Reference(sram6t, (22.4,78)))
sram16x8.add(gdstk.Reference(sram6t, (16.8,84)))
sram16x8.add(gdstk.Reference(sram6t, (22.4,84)))
sram16x8.add(gdstk.Reference(sram6t, (16.8,90)))
sram16x8.add(gdstk.Reference(sram6t, (22.4,90)))
sram16x8.add(gdstk.Reference(sram6t, (39.2,66)))
sram16x8.add(gdstk.Reference(sram6t, (33.6,54)))
sram16x8.add(gdstk.Reference(sram6t, (28,60)))
sram16x8.add(gdstk.Reference(sram6t, (28,72)))
sram16x8.add(gdstk.Reference(sram6t, (33.6,72)))
sram16x8.add(gdstk.Reference(sram6t, (39.2,72)))
sram16x8.add(gdstk.Reference(sram6t, (33.6,60)))
sram16x8.add(gdstk.Reference(sram6t, (39.2,60)))
sram16x8.add(gdstk.Reference(sram6t, (28,78)))
sram16x8.add(gdstk.Reference(sram6t, (33.6,78)))
sram16x8.add(gdstk.Reference(sram6t, (39.2,78)))
sram16x8.add(gdstk.Reference(sram6t, (39.2,54)))
sram16x8.add(gdstk.Reference(sram6t, (28,54)))
sram16x8.add(gdstk.Reference(sram6t, (28,84)))
sram16x8.add(gdstk.Reference(sram6t, (33.6,84)))
sram16x8.add(gdstk.Reference(sram6t, (39.2,84)))
sram16x8.add(gdstk.Reference(sram6t, (28,66)))
sram16x8.add(gdstk.Reference(sram6t, (33.6,66)))
sram16x8.add(gdstk.Reference(sram6t, (28,90)))
sram16x8.add(gdstk.Reference(sram6t, (33.6,90)))
sram16x8.add(gdstk.Reference(sram6t, (39.2,90)))
sram16x8.add(gdstk.Reference(sram6t, (11.2,54)))
sram16x8.add(gdstk.Reference(sram6t, (0,54)))
sram16x8.add(gdstk.Reference(sram6t, (5.6,54)))
sram16x8.add(gdstk.Reference(sram6t, (0,60)))
sram16x8.add(gdstk.Reference(sram6t, (0,72)))
sram16x8.add(gdstk.Reference(sram6t, (0,84)))
sram16x8.add(gdstk.Reference(sram6t, (5.6,84)))
sram16x8.add(gdstk.Reference(sram6t, (11.2,84)))
sram16x8.add(gdstk.Reference(sram6t, (5.6,72)))
sram16x8.add(gdstk.Reference(sram6t, (11.2,72)))
sram16x8.add(gdstk.Reference(sram6t, (5.6,60)))
sram16x8.add(gdstk.Reference(sram6t, (0,66)))
sram16x8.add(gdstk.Reference(sram6t, (5.6,66)))
sram16x8.add(gdstk.Reference(sram6t, (0,90)))
sram16x8.add(gdstk.Reference(sram6t, (5.6,90)))
sram16x8.add(gdstk.Reference(sram6t, (11.2,90)))
sram16x8.add(gdstk.Reference(sram6t, (11.2,66)))
sram16x8.add(gdstk.Reference(sram6t, (11.2,60)))
sram16x8.add(gdstk.Reference(sram6t, (0,78)))
sram16x8.add(gdstk.Reference(sram6t, (5.6,78)))
sram16x8.add(gdstk.Reference(sram6t, (11.2,78)))
sram16x8.add(gdstk.Reference(sram6t, (11.2,0)))
sram16x8.add(gdstk.Reference(sram6t, (0,0)))
sram16x8.add(gdstk.Reference(sram6t, (0,30)))
sram16x8.add(gdstk.Reference(sram6t, (5.6,30)))
sram16x8.add(gdstk.Reference(sram6t, (11.2,30)))
sram16x8.add(gdstk.Reference(sram6t, (0,12)))
sram16x8.add(gdstk.Reference(sram6t, (5.6,12)))
sram16x8.add(gdstk.Reference(sram6t, (0,36)))
sram16x8.add(gdstk.Reference(sram6t, (5.6,36)))
sram16x8.add(gdstk.Reference(sram6t, (11.2,36)))
sram16x8.add(gdstk.Reference(sram6t, (11.2,12)))
sram16x8.add(gdstk.Reference(sram6t, (5.6,0)))
sram16x8.add(gdstk.Reference(sram6t, (0,6)))
sram16x8.add(gdstk.Reference(sram6t, (0,18)))
sram16x8.add(gdstk.Reference(sram6t, (5.6,18)))
sram16x8.add(gdstk.Reference(sram6t, (11.2,18)))
sram16x8.add(gdstk.Reference(sram6t, (5.6,6)))
sram16x8.add(gdstk.Reference(sram6t, (11.2,6)))
sram16x8.add(gdstk.Reference(sram6t, (0,24)))
sram16x8.add(gdstk.Reference(sram6t, (5.6,24)))
sram16x8.add(gdstk.Reference(sram6t, (11.2,24)))
sram16x8.add(gdstk.Reference(sram6t, (28,18)))
sram16x8.add(gdstk.Reference(sram6t, (28,30)))
sram16x8.add(gdstk.Reference(sram6t, (33.6,30)))
sram16x8.add(gdstk.Reference(sram6t, (39.2,30)))
sram16x8.add(gdstk.Reference(sram6t, (33.6,18)))
sram16x8.add(gdstk.Reference(sram6t, (39.2,18)))
sram16x8.add(gdstk.Reference(sram6t, (33.6,6)))
sram16x8.add(gdstk.Reference(sram6t, (28,12)))
sram16x8.add(gdstk.Reference(sram6t, (33.6,12)))
sram16x8.add(gdstk.Reference(sram6t, (28,36)))
sram16x8.add(gdstk.Reference(sram6t, (33.6,36)))
sram16x8.add(gdstk.Reference(sram6t, (39.2,36)))
sram16x8.add(gdstk.Reference(sram6t, (39.2,12)))
sram16x8.add(gdstk.Reference(sram6t, (39.2,6)))
sram16x8.add(gdstk.Reference(sram6t, (28,24)))
sram16x8.add(gdstk.Reference(sram6t, (33.6,24)))
sram16x8.add(gdstk.Reference(sram6t, (39.2,24)))
sram16x8.add(gdstk.Reference(sram6t, (39.2,0)))
sram16x8.add(gdstk.Reference(sram6t, (28,0)))
sram16x8.add(gdstk.Reference(sram6t, (33.6,0)))
sram16x8.add(gdstk.Reference(sram6t, (28,6)))
sram16x8.add(gdstk.Label('BL0', (0.98,96.2), layer=42, texttype=10))
sram16x8.add(gdstk.Label('BLB0', (5.68,96.2), layer=42, texttype=10))
sram16x8.add(gdstk.Label('BL1', (12.18,96.2), layer=42, texttype=10))
sram16x8.add(gdstk.Label('BLB1', (16.88,96.2), layer=42, texttype=10))
sram16x8.add(gdstk.Label('BL2', (23.38,96.2), layer=42, texttype=10))
sram16x8.add(gdstk.Label('BLB2', (28.08,96.2), layer=42, texttype=10))
sram16x8.add(gdstk.Label('BL3', (34.58,96.2), layer=42, texttype=10))
sram16x8.add(gdstk.Label('BLB3', (39.28,96.2), layer=42, texttype=10))
sram16x8.add(gdstk.Label('BL4', (45.78,96.2), layer=42, texttype=10))
sram16x8.add(gdstk.Label('BLB4', (50.48,96.2), layer=42, texttype=10))
sram16x8.add(gdstk.Label('BL5', (56.98,96.2), layer=42, texttype=10))
sram16x8.add(gdstk.Label('BLB5', (61.68,96.2), layer=42, texttype=10))
sram16x8.add(gdstk.Label('BL6', (68.18,96.2), layer=42, texttype=10))
sram16x8.add(gdstk.Label('BLB6', (72.88,96.2), layer=42, texttype=10))
sram16x8.add(gdstk.Label('BL7', (79.38,96.2), layer=42, texttype=10))
sram16x8.add(gdstk.Label('BLB7', (84.08,96.2), layer=42, texttype=10))
sram16x8.add(gdstk.Label('WL0', (0.2,3), layer=42, texttype=10))
sram16x8.add(gdstk.Label('WL1', (0.2,9), layer=42, texttype=10))
sram16x8.add(gdstk.Label('WL2', (0.2,15), layer=42, texttype=10))
sram16x8.add(gdstk.Label('WL3', (0.2,21), layer=42, texttype=10))
sram16x8.add(gdstk.Label('WL4', (0.2,27), layer=42, texttype=10))
sram16x8.add(gdstk.Label('WL5', (0.2,33), layer=42, texttype=10))
sram16x8.add(gdstk.Label('WL6', (0.2,39), layer=42, texttype=10))
sram16x8.add(gdstk.Label('WL7', (0.2,45), layer=42, texttype=10))
sram16x8.add(gdstk.Label('WL8', (0.2,51), layer=42, texttype=10))
sram16x8.add(gdstk.Label('WL9', (0.2,57), layer=42, texttype=10))
sram16x8.add(gdstk.Label('WL10', (0.2,63), layer=42, texttype=10))
sram16x8.add(gdstk.Label('WL11', (0.2,69), layer=42, texttype=10))
sram16x8.add(gdstk.Label('WL12', (0.2,75), layer=42, texttype=10))
sram16x8.add(gdstk.Label('WL13', (0.2,81), layer=42, texttype=10))
sram16x8.add(gdstk.Label('WL14', (0.2,87), layer=42, texttype=10))
sram16x8.add(gdstk.Label('WL15', (0.2,93), layer=42, texttype=10))
sram16x8.add(gdstk.Label('VDD', (0.2,95.885), layer=36, texttype=10))
sram16x8.add(gdstk.Label('VSS', (0.2,0.115), layer=36, texttype=10))

lib.write_gds('sram16x8.gds')
